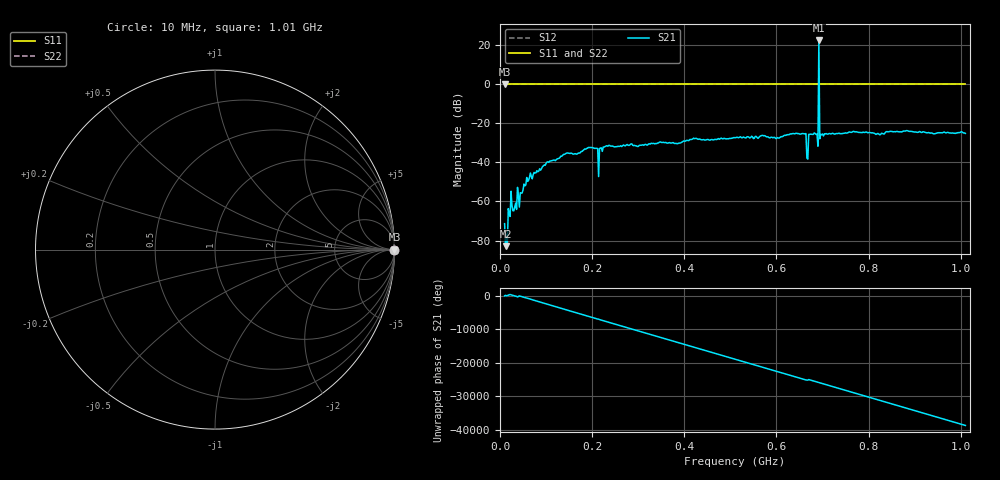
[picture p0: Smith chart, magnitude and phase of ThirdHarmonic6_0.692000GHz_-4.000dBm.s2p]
! 8/15/2025 11:06:11 PM
! C:\ANRITSUVNA\TEMP\TEMP.S2P
! CHANNEL.1
! TR.MEASUREMENT
! RAW.DATA
! RF.CORRECTION.OFF
! AVERAGING.OFF
! IF.BANDWIDTH: 5KHZ
! SWEEPTYPE:  FREQ.SWEEP(Linear)
! Reference Plane Port Info
! PORT:  PORT1  PORT2
! DISTANCE:  0  m  0  m
! TIME:  0  s  0  s
! PHASE.OFFSET:  0  deg.  0  deg.
! LOSS:  0  dB  0  dB
! REF.LOSS:  0  dB  0  dB
! REF.FREQ:  0  Hz  0  Hz
! Power Info
! POWER:  -20  dBm  -20  dBm
! EFF.POWER:  -20  dBm  -20  dBm
! SOURCE.ATTEN:  0  dB  0  dB
! TEST.ATTEN:  0  dB  0  dB
# GHZ S RI R 50.0
! FREQ.GHZ  S11RE  S11IM  S21RE  S21IM  S12RE  S12IM  S22RE  S22IM
!; PortSelection: Port_12
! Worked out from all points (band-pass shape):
!   501 points, 10 MHz to 1.01 GHz, reference 50 ohm
!   highest |S21| = 22.50 dB at 692 MHz (marker M1); lowest = -82.9 dB at 12 MHz (marker M2)
!   |S21| within 3 dB of the highest: 691.8893 MHz to 692.1191 MHz (229.8 kHz wide, 0.0332 % of centre)
!   lowest |S11| = 0.0 dB at 10 MHz (marker M3)
!   |S11| at or under -10 dB: nowhere
!   |S22| runs from 0.0 to 0.0 dB; largest |S21 - S12| = 13
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0.01  1 0  0.000268 -3.21e-05  1 0  1 0
0.012  1 0  -5.02e-05 5.12e-05  1 0  1 0
0.018  1 0  -0.000644 -0.000125  1 0  1 0
0.022  1 0  0.000413 3.12e-05  1 0  1 0
0.032  1 0  0.000724 -8.29e-05  1 0  1 0
0.062  1 0  -0.00287 -0.00201  1 0  1 0
0.106  1 0  -0.00722 -0.00704  1 0  1 0
0.178  1 0  -0.0187 -0.00434  1 0  1 0
0.218  1 0  0.0228 0.00554  1 0  1 0
0.344  1 0  0.0308 -0.00712  1 0  1 0
0.51  1 0  -0.04 0.0158  1 0  1 0
0.66  1 0  -0.0221 -0.0494  1 0  1 0
0.664  1 0  0.00394 0.0547  1 0  1 0
0.67  1 0  -0.0488 -0.0187  1 0  1 0
0.678  1 0  -0.024 -0.0464  1 0  1 0
0.686  1 0  0.00974 -0.0512  1 0  1 0
0.688  1 0  -0.05 -0.0192  1 0  1 0
0.692  1 0  8.994 9.843  1 0  1 0
0.696  1 0  -0.0319 -0.0415  1 0  1 0
0.698  1 0  -0.0462 0.0226  1 0  1 0
0.844  1 0  0.0452 0.0416  1 0  1 0
1.01  1 0  -0.054 -0.0125  1 0  1 0
